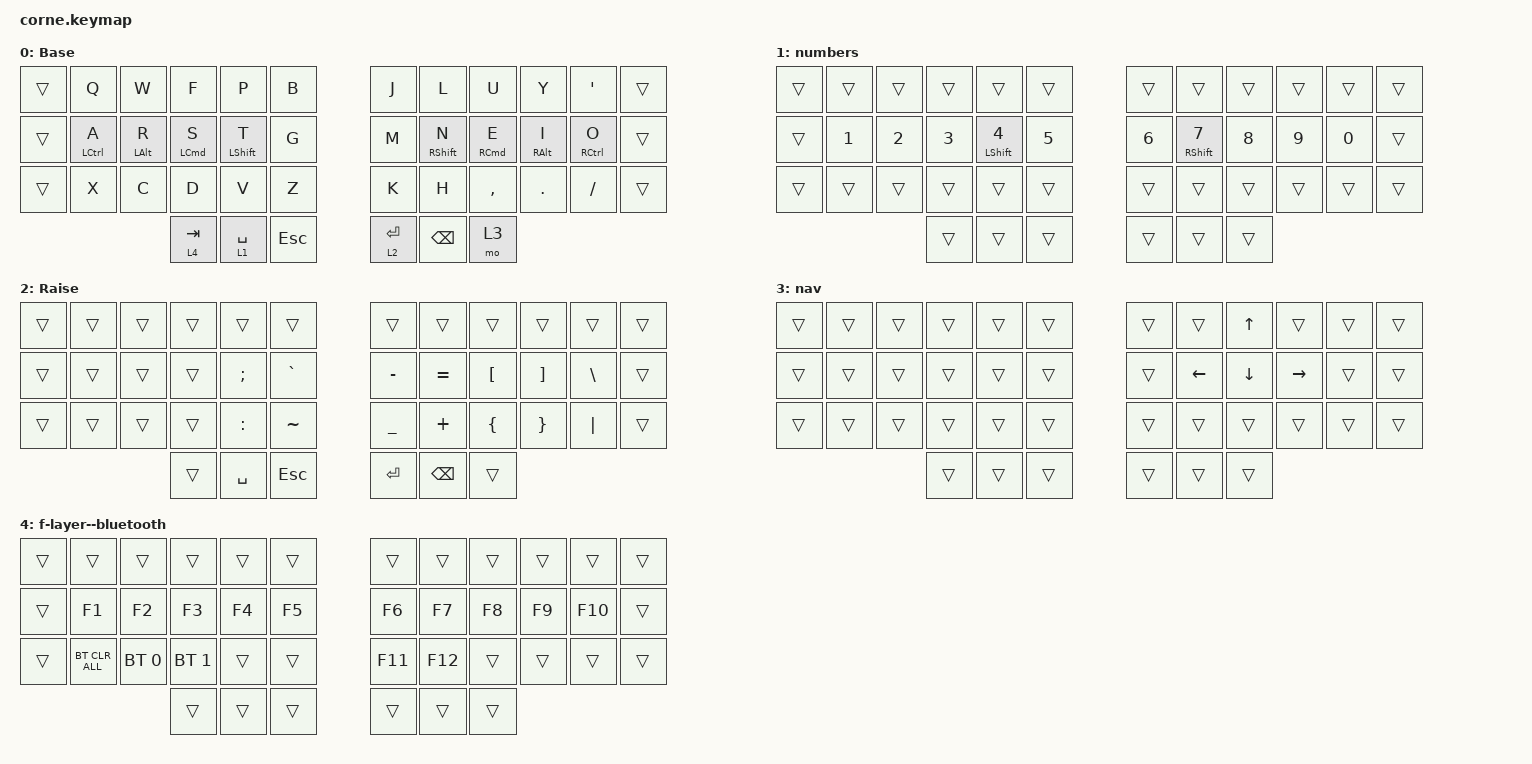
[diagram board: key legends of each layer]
/*
 * Copyright (c) 2020 The ZMK Contributors
 *
 * SPDX-License-Identifier: MIT
 */

#include <behaviors.dtsi>
#include <dt-bindings/zmk/bt.h>
#include <dt-bindings/zmk/keys.h>

/ {
    behaviors {
        hm: homerow_mods {
            compatible = "zmk,behavior-hold-tap";
            #binding-cells = <2>;
            tapping-term-ms = <300>;
            quick-tap-ms = <0>;
            flavor = "tap-preferred";
            bindings = <&kp>, <&kp>;
        };
    };

    keymap {
        compatible = "zmk,keymap";

        default_layer {
            // -----------------------------------------------------------------------------------------
            // |  TAB |  Q  |  W  |  E  |  R  |  T  |   |  Y  |  U   |  I  |  O  |  P  | BKSP |
            // | CTRL |  A  |  S  |  D  |  F  |  G  |   |  H  |  J   |  K  |  L  |  ;  |  '   |
            // | SHFT |  Z  |  X  |  C  |  V  |  B  |   |  N  |  M   |  ,  |  .  |  /  | ESC  |
            //                    | GUI | LWR | SPC |   | ENT | RSE  | ALT |

            display-name = "Base";
            bindings = <
&trans  &kp Q               &kp W           &kp F               &kp P             &kp B         &kp J        &kp L              &kp U                &kp Y            &kp APOSTROPHE       &trans
&trans  &hm LEFT_CONTROL A  &hm LEFT_ALT R  &hm LEFT_COMMAND S  &hm LEFT_SHIFT T  &kp G         &kp M        &hm RIGHT_SHIFT N  &hm RIGHT_COMMAND E  &hm RIGHT_ALT I  &hm RIGHT_CONTROL O  &trans
&trans  &kp X               &kp C           &kp D               &kp V             &kp Z         &kp K        &kp H              &kp COMMA            &kp DOT          &kp FSLH             &trans
                                            &lt 4 TAB           &lt 1 SPACE       &kp ESCAPE    &lt 2 ENTER  &kp BACKSPACE      &mo 3
            >;
        };

        numbers {
            bindings = <
&trans  &trans  &trans  &trans  &trans             &trans    &trans  &trans              &trans  &trans  &trans  &trans
&trans  &kp N1  &kp N2  &kp N3  &hm LEFT_SHIFT N4  &kp N5    &kp N6  &hm RIGHT_SHIFT N7  &kp N8  &kp N9  &kp N0  &trans
&trans  &trans  &trans  &trans  &trans             &trans    &trans  &trans              &trans  &trans  &trans  &trans
                        &trans  &trans             &trans    &trans  &trans              &trans
            >;
        };

        raise_layer {
            // -----------------------------------------------------------------------------------------
            // |  TAB |  !  |  @  |  #  |  $  |  %  |   |  ^  |  &  |  *  |  (  |  )  | BKSP |
            // | CTRL |     |     |     |     |     |   |  -  |  =  |  [  |  ]  |  \  |  `   |
            // | SHFT |     |     |     |     |     |   |  _  |  +  |  {  |  }  | "|" |  ~   |
            //                    | GUI |     | SPC |   | ENT |     | ALT |

            display-name = "Raise";
            bindings = <
&trans  &trans  &trans  &trans  &trans     &trans        &trans     &trans         &trans    &trans    &trans    &trans
&trans  &trans  &trans  &trans  &kp SEMI   &kp GRAVE     &kp MINUS  &kp EQUAL      &kp LBKT  &kp RBKT  &kp BSLH  &trans
&trans  &trans  &trans  &trans  &kp COLON  &kp TILDE     &kp UNDER  &kp PLUS       &kp LBRC  &kp RBRC  &kp PIPE  &trans
                        &trans  &kp SPACE  &kp ESCAPE    &kp RET    &kp BACKSPACE  &trans
            >;
        };

        nav {
            bindings = <
&trans  &trans  &trans  &trans  &trans  &trans    &trans  &trans    &kp UP    &trans     &trans  &trans
&trans  &trans  &trans  &trans  &trans  &trans    &trans  &kp LEFT  &kp DOWN  &kp RIGHT  &trans  &trans
&trans  &trans  &trans  &trans  &trans  &trans    &trans  &trans    &trans    &trans     &trans  &trans
                        &trans  &trans  &trans    &trans  &trans    &trans
            >;
        };

        f-layer--bluetooth {
            bindings = <
&trans  &trans          &trans        &trans        &trans  &trans    &trans   &trans   &trans  &trans  &trans   &trans
&trans  &kp F1          &kp F2        &kp F3        &kp F4  &kp F5    &kp F6   &kp F7   &kp F8  &kp F9  &kp F10  &trans
&trans  &bt BT_CLR_ALL  &bt BT_SEL 0  &bt BT_SEL 1  &trans  &trans    &kp F11  &kp F12  &trans  &trans  &trans   &trans
                                      &trans        &trans  &trans    &trans   &trans   &trans
            >;
        };
    };
};
